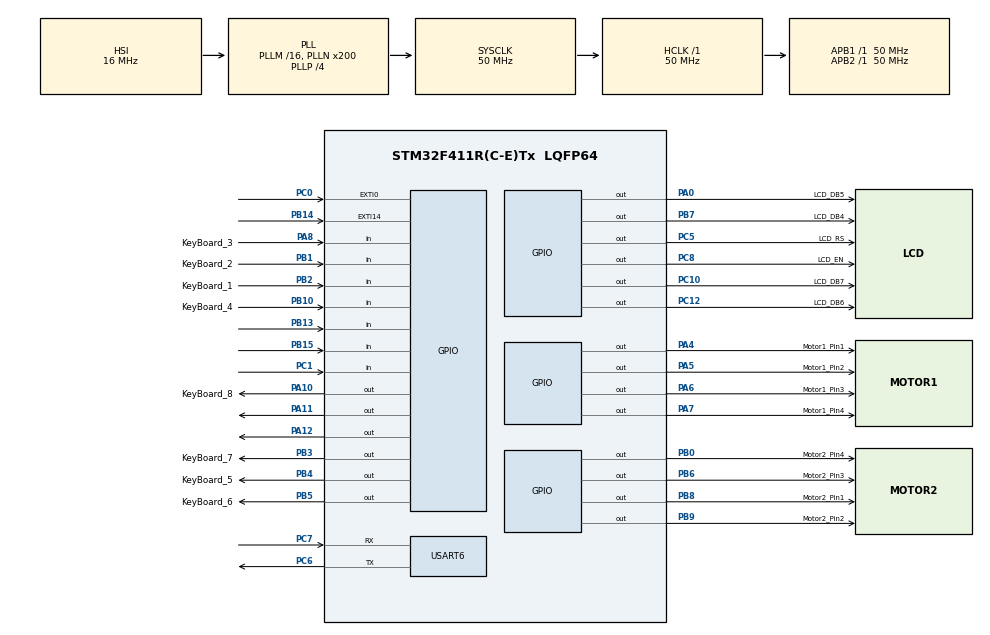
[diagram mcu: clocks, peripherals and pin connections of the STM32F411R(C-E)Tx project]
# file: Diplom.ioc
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Mcu.Family=STM32F4
Mcu.Name=STM32F411R(C-E)Tx
Mcu.Package=LQFP64
NVIC.EXTI0_IRQn=true\:2\:0\:true\:false\:true\:true\:true
NVIC.EXTI15_10_IRQn=true\:2\:0\:true\:false\:true\:true\:true
NVIC.PriorityGroup=NVIC_PRIORITYGROUP_4
NVIC.TIM2_IRQn=true\:0\:0\:false\:false\:true\:true\:true
NVIC.TIM3_IRQn=true\:0\:0\:false\:false\:true\:true\:true
NVIC.TIM4_IRQn=true\:0\:0\:false\:false\:true\:true\:true
NVIC.USART6_IRQn=true\:0\:0\:false\:false\:true\:true\:true
PA0-WKUP.GPIO_Label=LCD_DB5
PA0-WKUP.Signal=GPIO_Output
PA10.GPIO_Label=KeyBoard_8
PA10.Signal=GPIO_Output
PA11.Signal=GPIO_Output
PA12.Signal=GPIO_Output
PA4.GPIO_Label=Motor1_Pin1
PA4.Signal=GPIO_Output
PA5.GPIO_Label=Motor1_Pin2
PA5.Signal=GPIO_Output
PA6.GPIO_Label=Motor1_Pin3
PA6.Signal=GPIO_Output
PA7.GPIO_Label=Motor1_Pin4
PA7.Signal=GPIO_Output
PA8.GPIO_Label=KeyBoard_3
PA8.GPIO_PuPd=GPIO_PULLUP
PA8.Signal=GPIO_Input
PB0.GPIO_Label=Motor2_Pin4
PB0.Signal=GPIO_Output
PB1.GPIO_Label=KeyBoard_2
PB1.GPIO_PuPd=GPIO_PULLUP
PB1.Signal=GPIO_Input
PB10.GPIO_Label=KeyBoard_4
PB10.GPIO_PuPd=GPIO_PULLUP
PB10.Signal=GPIO_Input
PB13.GPIO_PuPd=GPIO_NOPULL
PB13.Signal=GPIO_Input
PB14.GPIO_ModeDefaultEXTI=GPIO_MODE_IT_FALLING
PB14.GPIO_PuPd=GPIO_PULLUP
PB14.Signal=GPXTI14
PB15.Signal=GPIO_Input
PB2.GPIO_Label=KeyBoard_1
PB2.GPIO_PuPd=GPIO_PULLUP
PB2.Signal=GPIO_Input
PB3.GPIO_Label=KeyBoard_7
PB3.Signal=GPIO_Output
PB4.GPIO_Label=KeyBoard_5
PB4.Signal=GPIO_Output
PB5.GPIO_Label=KeyBoard_6
PB5.Signal=GPIO_Output
PB6.GPIO_Label=Motor2_Pin3
PB6.Signal=GPIO_Output
PB7.GPIO_Label=LCD_DB4
PB7.Signal=GPIO_Output
PB8.GPIO_Label=Motor2_Pin1
PB8.Signal=GPIO_Output
PB9.GPIO_Label=Motor2_Pin2
PB9.Signal=GPIO_Output
PC0.GPIO_ModeDefaultEXTI=GPIO_MODE_IT_FALLING
PC0.GPIO_PuPd=GPIO_PULLUP
PC0.Signal=GPXTI0
PC1.GPIO_PuPd=GPIO_NOPULL
PC1.Signal=GPIO_Input
PC10.GPIO_Label=LCD_DB7
PC10.Signal=GPIO_Output
PC12.GPIO_Label=LCD_DB6
PC12.Signal=GPIO_Output
PC5.GPIO_Label=LCD_RS
PC5.Signal=GPIO_Output
PC6.Mode=Asynchronous
PC6.Signal=USART6_TX
PC7.Mode=Asynchronous
PC7.Signal=USART6_RX
PC8.GPIO_Label=LCD_EN
PC8.Signal=GPIO_Output
ProjectManager.HeapSize=0x200
ProjectManager.StackSize=0x400
ProjectManager.TargetToolchain=STM32CubeIDE
RCC.48MHZClocksFreq_Value=50000000
RCC.AHBFreq_Value=50000000
RCC.APB1Freq_Value=50000000
RCC.APB1TimFreq_Value=50000000
RCC.APB2Freq_Value=50000000
RCC.APB2TimFreq_Value=50000000
RCC.CortexFreq_Value=50000000
RCC.HCLKFreq_Value=50000000
RCC.HSE_VALUE=25000000
RCC.HSI_VALUE=16000000
RCC.LSE_VALUE=32768
RCC.PLLN=200
RCC.PLLP=RCC_PLLP_DIV4
RCC.SYSCLKFreq_VALUE=50000000
RCC.SYSCLKSource=RCC_SYSCLKSOURCE_PLLCLK
RCC.VCOOutputFreq_Value=200000000
TIM2.Period=599
TIM2.Prescaler=4999
TIM3.Period=65535
TIM3.Prescaler=499
TIM4.Period=65535
TIM4.Prescaler=499
USART6.VirtualMode=VM_ASYNC
VP_TIM2_VS_ClockSourceINT.Mode=Internal
VP_TIM3_VS_ClockSourceINT.Mode=Internal
VP_TIM4_VS_ClockSourceINT.Mode=Internal
board=custom

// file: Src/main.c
/* USER CODE BEGIN Header */
/**
  ******************************************************************************
  * @file           : main.c
  * @brief          : Main program body
  ******************************************************************************
  * @attention
  *
  * <h2><center>&copy; Copyright (c) 2021 STMicroelectronics.
  * All rights reserved.</center></h2>
  *
  * This software component is licensed by ST under BSD 3-Clause license,
  * the "License"; You may not use this file except in compliance with the
  * License. You may obtain a copy of the License at:
  *                        opensource.org/licenses/BSD-3-Clause
  *
  ******************************************************************************
  */
/* USER CODE END Header */

#include "main.h"

/* USER CODE BEGIN Includes */
#include "string.h"
#include "Lcd.h"
#include "LcdConfig.h"
#include <stdlib.h>
#include <ctype.h>
#include<stdio.h>

/* USER CODE END Includes */

/* USER CODE BEGIN PM */

#define MY_SLAVE_ID  0x01

#define TRUE   1
#define FALSE  0

#define START 1
#define STOP 0

#define AUTO_MODE 1
#define HANDLE_MODE 0

/* USER CODE END PM */

TIM_HandleTypeDef htim2;
TIM_HandleTypeDef htim3;
TIM_HandleTypeDef htim4;

UART_HandleTypeDef huart6;

/* USER CODE BEGIN PV */

//volatile uint8_t temp_step;

volatile uint8_t DataPos;

uint8_t CommandIsReceived = FALSE;

stepMotor_typeDef stepMotor1, stepMotor2;
int display_coordX = 0, display_coordY =0 , display_speed_ref = 0;
uint16_t Xk =0 , Yk = 0;

G_CODE_typeDef G_Code;

uint8_t AllGcodeIsReceived = FALSE;

volatile uint16_t G_Code_File[5000];			// Save all G-Code Strings Received

volatile uint8_t countG;

volatile int sensor_X, sensor_Y;	//*******sensor value***

typedef enum{
	None = 0,
	Clockwise = 1,
	AntiClockwise = 2

}dirMotor_typedef;

volatile dirMotor_typedef sensor_DirMotorX, sensor_DirMotorY;

/* USER CODE END PV */

void SystemClock_Config(void);
static void MX_GPIO_Init(void);
static void MX_TIM2_Init(void);
static void MX_USART6_UART_Init(void);
static void MX_TIM3_Init(void);
static void MX_TIM4_Init(void);
/* USER CODE BEGIN PFP */

void Lcd_display_parameter(Lcd_HandleTypeDef* lcd);
void Process_GCode(volatile uint16_t* gcode);
void Start_Motors_ByGCode();
void runMotor(stepMotor_typeDef* motor, uint16_t steps, uint8_t dir);

/* USER CODE END PFP */

int main(void)
{
  /* USER CODE BEGIN 1 */

	sensor_DirMotorX = None;
	sensor_DirMotorY = None;

	//*********** Set first-Mode: handle Mode **********
	MODE = 0;
	isDrilling = 0;
	temp_coordX = 0;			//this is used while parsing G-code
 	temp_coordY = 0;			//this is used while parsing G-code
	temp_speed  = 0;
	sensor_X = 0;
	sensor_Y = 0;
	countG = 0;

	memset(data_in, 0,300);

	//********* Configuring for motors ***************
	stepMotor1.Port 		= GPIOA;
	stepMotor1.pin1 		= GPIO_PIN_4;
	stepMotor1.pin2 		= GPIO_PIN_5;
	stepMotor1.pin3 		= GPIO_PIN_6;
	stepMotor1.pin4 		= GPIO_PIN_7;
	stepMotor1.temp_step 	= 0;
	stepMotor1.state 		= NOT_RUNNING;

	stepMotor2.Port 		= GPIOB;
	stepMotor2.pin1 		= GPIO_PIN_8;
	stepMotor2.pin2 		= GPIO_PIN_9;
	stepMotor2.pin3 		= GPIO_PIN_6;
	stepMotor2.pin4 		= GPIO_PIN_0;
	stepMotor2.temp_step 	= 0;
	stepMotor2.state		= NOT_RUNNING;

	//**************** Set G_Code_String in Mobus model ************
	test[0] = (uint16_t*)(&motor);
	test[1] = (uint16_t*)(&stepNumb);
	test[2] = (uint16_t*)(&speed);
	test[3] = (uint16_t*)(&direction);
	test[4] = (uint16_t*)(&startStop);
	test[5] = (uint16_t*)(&MODE);

	test[6] = (uint16_t*)(&AllGcodeIsReceived);

	for (int i = 7; i<107; i++)
	{
		test[i] = (uint16_t*)(&G_Code_String[i-7]);
	}

	test[107] = (uint16_t*)&sensor_X;
	test[108] = (uint16_t*)&sensor_Y;
	test[109] = (uint16_t*)&isDrilling;
	test[110] = (uint16_t*)&sensor_DirMotorX;
	test[111] = (uint16_t*)&sensor_DirMotorY;

  /* USER CODE END 1 */

  /* MCU Configuration--------------------------------------------------------*/

  /* Reset of all peripherals, Initializes the Flash interface and the Systick. */
  HAL_Init();

  /* Configure the system clock */
  SystemClock_Config();

  /* Initialize all configured peripherals */
  MX_GPIO_Init();
  MX_TIM2_Init();
  MX_USART6_UART_Init();
  MX_TIM3_Init();
  MX_TIM4_Init();
  /* USER CODE BEGIN 2 */

  HAL_TIM_Base_Start(&htim3);

  HAL_TIM_Base_Start_IT(&htim2);

  DataPos = 0;

  HAL_UART_Receive_IT(&huart6, (uint8_t*)data_in + DataPos, 1);

  HAL_GPIO_WritePin(GPIOA, GPIO_PIN_11, 0);
  HAL_GPIO_WritePin(GPIOA, GPIO_PIN_12, 1);

  //********* Initialize KeyPad *************
  KeyPad_Init();

  //********* Initialize LCD ****************
  Lcd_PortType ports[] = { D4_GPIO_Port, D5_GPIO_Port, D6_GPIO_Port, D7_GPIO_Port};

  Lcd_PinType pins[] = {D4_Pin, D5_Pin, D6_Pin, D7_Pin};

  Lcd_HandleTypeDef lcd;

  lcd = Lcd_create(ports, pins, RS_GPIO_Port, RS_Pin, EN_GPIO_Port, EN_Pin, LCD_4_BIT_MODE);

  Lcd_string(&lcd, "Handle Mode");

  Lcd_cursor(&lcd, 1, 0);

  Lcd_string(&lcd, "Press '#' to run");

  /* USER CODE END 2 */

  /* Infinite loop */
  while (1)
  {

    /* USER CODE BEGIN 3 */

	  if(MODE == AUTO_MODE)
	  {
		  // ****************** Automatic mode (Using data from PC ) **************
		  if (CommandIsReceived == TRUE)
		  {
			  if (MBRegisterCount()>=50)			// Is Data received G-Code?
			  {

				  if (AllGcodeIsReceived == TRUE)
				  {
					  for (int i = 0; i < MBRegisterCount() -2 ; i++)
					  {
						  G_Code_File[countG*100 + i] = G_Code_String[i];
					  }

					  Process_GCode(G_Code_File);
					  Start_Motors_ByGCode();
					  AllGcodeIsReceived == FALSE;
					  countG = 0;
					  memset(G_Code_File, 0, 5000);
					  memset(G_Code_String, 0, 200);
				  }
				  else
				  {
					  for (int i = 0; i < 100; i++)
					  {
						  G_Code_File[countG*100 + i] = G_Code_String[i];
					  }

					  countG++;
				  }

			  }
			  else
			  {
				  isDrilling = 0;

				  switch (motor)
				  {
				  case 1:
					  MODE = HANDLE_MODE;
					  if (htim3.State == HAL_TIM_STATE_READY)
						  HAL_TIM_Base_Start_IT(&htim3);
					  break;

				  case 2:
					  MODE = HANDLE_MODE;
					  if (htim4.State == HAL_TIM_STATE_READY)
						  HAL_TIM_Base_Start_IT(&htim4);
					  break;
				  }
			  }

			  CommandIsReceived = FALSE;
			  MODE = HANDLE_MODE;
		  }

	  }
	  else
	  {
		  //***************** Handle Mode (Using Keyboard) ************************

		  switch(KeyPad_WaitForKeyGetChar(0))
		  {
		  	  case '1':								// X+
		  		  display_coordX +=10;
		  		  if(display_coordX>100) display_coordX = 0;
		  		  Lcd_display_parameter(&lcd);
		  		  G_Code.G_Line[0].coordX = display_coordX*10;

		  		  break;

		  	  case '2':								// X-
		  		  display_coordX -= 10;
		  		  if(display_coordX<0) display_coordX=100;
		  		  Lcd_display_parameter(&lcd);
		  		  G_Code.G_Line[0].coordX = display_coordX*10;
		  		  break;

		  	  case '3':
		  		  runMotor(&stepMotor1,100, CLOCKWISE); 	// Let motor1 (X) run 100 steps clockwise and set current position X = 0
		  		  break;

		  	  case 'A':
		  		  runMotor(&stepMotor1,100, ANTICLOCKWISE); // Let motor1 (X) run 100 steps anti-clockwise and set current position X = 0
		  		  break;

		  	  case '4':								// Y+
		  		  display_coordY +=10;
		  		  if(display_coordY>100) display_coordY=0;
		  		  Lcd_display_parameter(&lcd);
		  		  G_Code.G_Line[0].coordY = display_coordY*10;
		  		  break;

		  	  case '5':								// Y-
		  		  display_coordY-= 10;
		  		  if(display_coordY<0) display_coordY=100;
		  		  Lcd_display_parameter(&lcd);
		  		  G_Code.G_Line[0].coordY = display_coordY*10;
		  		  break;

		  	  case '6':
		  		  runMotor(&stepMotor2,100, CLOCKWISE); 	// Let motor2 (Y) run 100 steps clockwise and set current position Y = 0
		  		  break;

		  	  case 'B':
		  		  runMotor(&stepMotor2,100, ANTICLOCKWISE); // Let motor2 (Y) run 100 steps anti-clockwise and set current position Y = 0
		  		  break;

		  	  case '7':								// F+
		  		  display_speed_ref +=10;
		  		  G_Code.G_Line[0].speed_ref += 1000 ;
		  		  if(display_speed_ref>50) display_speed_ref = 10;
		  		  Lcd_display_parameter(&lcd);
		  		  break;

		  	  case '8':								// F+
		  		  display_speed_ref -=10;
		  		  G_Code.G_Line[0].speed_ref--;
		  		  if(display_speed_ref< 10) display_speed_ref=50;
		  		  Lcd_display_parameter(&lcd);
		  		  break;

		  	  case '9':
		  		  break;

		  	  case '*':
		  		  Lcd_clear(&lcd);
		  		  Lcd_cursor(&lcd, 0, 4);
		  		  Lcd_string(&lcd, "Running... ");
		  		  G_Code.totalNumbOfLineGCode = 1;
		  		  Start_Motors_ByGCode();
		  		  while ((stepMotor1.state == RUNNING)||(stepMotor2.state == RUNNING)){};
		  		  Lcd_clear(&lcd);
		  		  Lcd_cursor(&lcd, 0, 4);
		  		  Lcd_string(&lcd, "FINISH");
		  		  Lcd_cursor(&lcd, 1, 0);
		  		  Lcd_string(&lcd, "Press 0 to exit");
		  		  break;

		  	  case '0':
		  		  Lcd_clear(&lcd);
		  		  Lcd_string(&lcd, "Handle Mode");
		  		  Lcd_cursor(&lcd, 1, 0);
		  		  Lcd_string(&lcd, "Press '#' to run");
		  		  break;

		  	  case '#':
		  		  Xk = 0;
		  		  Yk = 0;
		  		  temp_coordX = 0;
		  		  temp_coordY = 0;
		  		  Lcd_display_parameter(&lcd);
		  		  break;

		  	  case 'D':
		  		  break;
		  }

	  }

  }

  /* USER CODE END 3 */
}

void SystemClock_Config(void)
{
  RCC_OscInitTypeDef RCC_OscInitStruct = {0};
  RCC_ClkInitTypeDef RCC_ClkInitStruct = {0};

  /** Configure the main internal regulator output voltage
  */
  __HAL_RCC_PWR_CLK_ENABLE();
  __HAL_PWR_VOLTAGESCALING_CONFIG(PWR_REGULATOR_VOLTAGE_SCALE1);
  /** Initializes the CPU, AHB and APB busses clocks
  */
  RCC_OscInitStruct.OscillatorType = RCC_OSCILLATORTYPE_HSI;
  RCC_OscInitStruct.HSIState = RCC_HSI_ON;
  RCC_OscInitStruct.HSICalibrationValue = RCC_HSICALIBRATION_DEFAULT;
  RCC_OscInitStruct.PLL.PLLState = RCC_PLL_ON;
  RCC_OscInitStruct.PLL.PLLSource = RCC_PLLSOURCE_HSI;
  RCC_OscInitStruct.PLL.PLLM = 16;
  RCC_OscInitStruct.PLL.PLLN = 200;
  RCC_OscInitStruct.PLL.PLLP = RCC_PLLP_DIV4;
  RCC_OscInitStruct.PLL.PLLQ = 4;
  if (HAL_RCC_OscConfig(&RCC_OscInitStruct) != HAL_OK)
  {
    Error_Handler();
  }
  /** Initializes the CPU, AHB and APB busses clocks
  */
  RCC_ClkInitStruct.ClockType = RCC_CLOCKTYPE_HCLK|RCC_CLOCKTYPE_SYSCLK
                              |RCC_CLOCKTYPE_PCLK1|RCC_CLOCKTYPE_PCLK2;
  RCC_ClkInitStruct.SYSCLKSource = RCC_SYSCLKSOURCE_PLLCLK;
  RCC_ClkInitStruct.AHBCLKDivider = RCC_SYSCLK_DIV1;
  RCC_ClkInitStruct.APB1CLKDivider = RCC_HCLK_DIV1;
  RCC_ClkInitStruct.APB2CLKDivider = RCC_HCLK_DIV1;

  if (HAL_RCC_ClockConfig(&RCC_ClkInitStruct, FLASH_LATENCY_1) != HAL_OK)
  {
    Error_Handler();
  }
}

static void MX_TIM2_Init(void)
{

  TIM_ClockConfigTypeDef sClockSourceConfig = {0};
  TIM_MasterConfigTypeDef sMasterConfig = {0};

  htim2.Instance = TIM2;
  htim2.Init.Prescaler = 4999;
  htim2.Init.CounterMode = TIM_COUNTERMODE_UP;
  htim2.Init.Period = 599;
  htim2.Init.ClockDivision = TIM_CLOCKDIVISION_DIV1;
  htim2.Init.AutoReloadPreload = TIM_AUTORELOAD_PRELOAD_DISABLE;
  if (HAL_TIM_Base_Init(&htim2) != HAL_OK)
  {
    Error_Handler();
  }
  sClockSourceConfig.ClockSource = TIM_CLOCKSOURCE_INTERNAL;
  if (HAL_TIM_ConfigClockSource(&htim2, &sClockSourceConfig) != HAL_OK)
  {
    Error_Handler();
  }
  sMasterConfig.MasterOutputTrigger = TIM_TRGO_RESET;
  sMasterConfig.MasterSlaveMode = TIM_MASTERSLAVEMODE_DISABLE;
  if (HAL_TIMEx_MasterConfigSynchronization(&htim2, &sMasterConfig) != HAL_OK)
  {
    Error_Handler();
  }

}

static void MX_TIM3_Init(void)
{

  TIM_ClockConfigTypeDef sClockSourceConfig = {0};
  TIM_MasterConfigTypeDef sMasterConfig = {0};

  htim3.Instance = TIM3;
  htim3.Init.Prescaler = 499;
  htim3.Init.CounterMode = TIM_COUNTERMODE_UP;
  htim3.Init.Period = 65535;
  htim3.Init.ClockDivision = TIM_CLOCKDIVISION_DIV1;
  htim3.Init.AutoReloadPreload = TIM_AUTORELOAD_PRELOAD_DISABLE;
  if (HAL_TIM_Base_Init(&htim3) != HAL_OK)
  {
    Error_Handler();
  }
  sClockSourceConfig.ClockSource = TIM_CLOCKSOURCE_INTERNAL;
  if (HAL_TIM_ConfigClockSource(&htim3, &sClockSourceConfig) != HAL_OK)
  {
    Error_Handler();
  }
  sMasterConfig.MasterOutputTrigger = TIM_TRGO_RESET;
  sMasterConfig.MasterSlaveMode = TIM_MASTERSLAVEMODE_DISABLE;
  if (HAL_TIMEx_MasterConfigSynchronization(&htim3, &sMasterConfig) != HAL_OK)
  {
    Error_Handler();
  }

}

static void MX_TIM4_Init(void)
{

  TIM_ClockConfigTypeDef sClockSourceConfig = {0};
  TIM_MasterConfigTypeDef sMasterConfig = {0};

  htim4.Instance = TIM4;
  htim4.Init.Prescaler = 499;
  htim4.Init.CounterMode = TIM_COUNTERMODE_UP;
  htim4.Init.Period = 65535;
  htim4.Init.ClockDivision = TIM_CLOCKDIVISION_DIV1;
  htim4.Init.AutoReloadPreload = TIM_AUTORELOAD_PRELOAD_DISABLE;
  if (HAL_TIM_Base_Init(&htim4) != HAL_OK)
  {
    Error_Handler();
  }
  sClockSourceConfig.ClockSource = TIM_CLOCKSOURCE_INTERNAL;
  if (HAL_TIM_ConfigClockSource(&htim4, &sClockSourceConfig) != HAL_OK)
  {
    Error_Handler();
  }
  sMasterConfig.MasterOutputTrigger = TIM_TRGO_RESET;
  sMasterConfig.MasterSlaveMode = TIM_MASTERSLAVEMODE_DISABLE;
  if (HAL_TIMEx_MasterConfigSynchronization(&htim4, &sMasterConfig) != HAL_OK)
  {
    Error_Handler();
  }

}

static void MX_USART6_UART_Init(void)
{

  huart6.Instance = USART6;
  huart6.Init.BaudRate = 115200;
  huart6.Init.WordLength = UART_WORDLENGTH_8B;
  huart6.Init.StopBits = UART_STOPBITS_1;
  huart6.Init.Parity = UART_PARITY_NONE;
  huart6.Init.Mode = UART_MODE_TX_RX;
  huart6.Init.HwFlowCtl = UART_HWCONTROL_NONE;
  huart6.Init.OverSampling = UART_OVERSAMPLING_16;
  if (HAL_UART_Init(&huart6) != HAL_OK)
  {
    Error_Handler();
  }

}

static void MX_GPIO_Init(void)
{
  GPIO_InitTypeDef GPIO_InitStruct = {0};

  /* GPIO Ports Clock Enable */
  __HAL_RCC_GPIOC_CLK_ENABLE();
  __HAL_RCC_GPIOA_CLK_ENABLE();
  __HAL_RCC_GPIOB_CLK_ENABLE();

  /*Configure GPIO pin Output Level */
  HAL_GPIO_WritePin(GPIOA, LCD_DB5_Pin|Motor1_Pin1_Pin|Motor1_Pin2_Pin|Motor1_Pin3_Pin
                          |Motor1_Pin4_Pin|KeyBoard_8_Pin|GPIO_PIN_11|GPIO_PIN_12, GPIO_PIN_RESET);

  /*Configure GPIO pin Output Level */
  HAL_GPIO_WritePin(GPIOC, LCD_RS_Pin|LCD_EN_Pin|LCD_DB7_Pin|LCD_DB6_Pin, GPIO_PIN_RESET);

  /*Configure GPIO pin Output Level */
  HAL_GPIO_WritePin(GPIOB, Motor2_Pin4_Pin|KeyBoard_7_Pin|KeyBoard_5_Pin|KeyBoard_6_Pin
                          |Motor2_Pin3_Pin|LCD_DB4_Pin|Motor2_Pin1_Pin|Motor2_Pin2_Pin, GPIO_PIN_RESET);

  /*Configure GPIO pin : PC0 */
  GPIO_InitStruct.Pin = GPIO_PIN_0;
  GPIO_InitStruct.Mode = GPIO_MODE_IT_FALLING;
  GPIO_InitStruct.Pull = GPIO_PULLUP;
  HAL_GPIO_Init(GPIOC, &GPIO_InitStruct);

  /*Configure GPIO pin : PC1 */
  GPIO_InitStruct.Pin = GPIO_PIN_1;
  GPIO_InitStruct.Mode = GPIO_MODE_INPUT;
  GPIO_InitStruct.Pull = GPIO_NOPULL;
  HAL_GPIO_Init(GPIOC, &GPIO_InitStruct);

  /*Configure GPIO pins : LCD_DB5_Pin Motor1_Pin1_Pin Motor1_Pin2_Pin Motor1_Pin3_Pin
                           Motor1_Pin4_Pin KeyBoard_8_Pin PA11 PA12 */
  GPIO_InitStruct.Pin = LCD_DB5_Pin|Motor1_Pin1_Pin|Motor1_Pin2_Pin|Motor1_Pin3_Pin
                          |Motor1_Pin4_Pin|KeyBoard_8_Pin|GPIO_PIN_11|GPIO_PIN_12;
  GPIO_InitStruct.Mode = GPIO_MODE_OUTPUT_PP;
  GPIO_InitStruct.Pull = GPIO_NOPULL;
  GPIO_InitStruct.Speed = GPIO_SPEED_FREQ_LOW;
  HAL_GPIO_Init(GPIOA, &GPIO_InitStruct);

  /*Configure GPIO pins : LCD_RS_Pin LCD_EN_Pin LCD_DB7_Pin LCD_DB6_Pin */
  GPIO_InitStruct.Pin = LCD_RS_Pin|LCD_EN_Pin|LCD_DB7_Pin|LCD_DB6_Pin;
  GPIO_InitStruct.Mode = GPIO_MODE_OUTPUT_PP;
  GPIO_InitStruct.Pull = GPIO_NOPULL;
  GPIO_InitStruct.Speed = GPIO_SPEED_FREQ_LOW;
  HAL_GPIO_Init(GPIOC, &GPIO_InitStruct);

  /*Configure GPIO pins : Motor2_Pin4_Pin KeyBoard_7_Pin KeyBoard_5_Pin KeyBoard_6_Pin
                           Motor2_Pin3_Pin LCD_DB4_Pin Motor2_Pin1_Pin Motor2_Pin2_Pin */
  GPIO_InitStruct.Pin = Motor2_Pin4_Pin|KeyBoard_7_Pin|KeyBoard_5_Pin|KeyBoard_6_Pin
                          |Motor2_Pin3_Pin|LCD_DB4_Pin|Motor2_Pin1_Pin|Motor2_Pin2_Pin;
  GPIO_InitStruct.Mode = GPIO_MODE_OUTPUT_PP;
  GPIO_InitStruct.Pull = GPIO_NOPULL;
  GPIO_InitStruct.Speed = GPIO_SPEED_FREQ_LOW;
  HAL_GPIO_Init(GPIOB, &GPIO_InitStruct);

  /*Configure GPIO pins : KeyBoard_2_Pin KeyBoard_1_Pin KeyBoard_4_Pin */
  GPIO_InitStruct.Pin = KeyBoard_2_Pin|KeyBoard_1_Pin|KeyBoard_4_Pin;
  GPIO_InitStruct.Mode = GPIO_MODE_INPUT;
  GPIO_InitStruct.Pull = GPIO_PULLUP;
  HAL_GPIO_Init(GPIOB, &GPIO_InitStruct);

  /*Configure GPIO pins : PB13 PB15 */
  GPIO_InitStruct.Pin = GPIO_PIN_13|GPIO_PIN_15;
  GPIO_InitStruct.Mode = GPIO_MODE_INPUT;
  GPIO_InitStruct.Pull = GPIO_NOPULL;
  HAL_GPIO_Init(GPIOB, &GPIO_InitStruct);

  /*Configure GPIO pin : PB14 */
  GPIO_InitStruct.Pin = GPIO_PIN_14;
  GPIO_InitStruct.Mode = GPIO_MODE_IT_FALLING;
  GPIO_InitStruct.Pull = GPIO_PULLUP;
  HAL_GPIO_Init(GPIOB, &GPIO_InitStruct);

  /*Configure GPIO pin : KeyBoard_3_Pin */
  GPIO_InitStruct.Pin = KeyBoard_3_Pin;
  GPIO_InitStruct.Mode = GPIO_MODE_INPUT;
  GPIO_InitStruct.Pull = GPIO_PULLUP;
  HAL_GPIO_Init(KeyBoard_3_GPIO_Port, &GPIO_InitStruct);

  /* EXTI interrupt init*/
  HAL_NVIC_SetPriority(EXTI0_IRQn, 2, 0);
  HAL_NVIC_EnableIRQ(EXTI0_IRQn);

  HAL_NVIC_SetPriority(EXTI15_10_IRQn, 2, 0);
  HAL_NVIC_EnableIRQ(EXTI15_10_IRQn);

}

/* USER CODE BEGIN 4 */

void HAL_UART_RxCpltCallback(UART_HandleTypeDef *huart)
{

	if (htim2.State == HAL_TIM_STATE_BUSY)
		HAL_TIM_Base_Stop_IT(&htim2);

//	__HAL_TIM_SET_COUNTER(&htim2, 0);

	TIM2->SR &= ~1;

	if (htim2.State == HAL_TIM_STATE_READY)
		HAL_TIM_Base_Start_IT(&htim2);

	DataPos++;

	HAL_UART_Receive_IT(&huart6, (uint8_t*)data_in + DataPos, 1);

}

 void HAL_TIM_PeriodElapsedCallback(TIM_HandleTypeDef *htim)
{

	if (htim->Instance == TIM2)
	{
		HAL_TIM_Base_Stop_IT(&htim2);

		if(data_in[0]== MY_SLAVE_ID)
		{

			switch(data_in[1])
			{
				case 0x03:
				{
					MBProcessRegisters(0x03);
				}
				break;

				case 0x06:
				{
					WriteToRegister(test);
				}
				break;

				case 0x10:
				{
					WriteToMultilRegisters(test);
					CommandIsReceived = TRUE;

					  switch (motor)
					  {
					  	  case 1:
					  		stepMotor1.stepNumb  = stepNumb;
					  		stepMotor1.speed 	 = speed;
					  		stepMotor1.direction = direction;
					  		stepMotor1.startStop = startStop;
					  		__HAL_TIM_SET_AUTORELOAD(&htim3, stepMotor1.speed*100);
						  break;

					  	  case 2:
							stepMotor2.stepNumb  = stepNumb;
							stepMotor2.speed     = speed;
							stepMotor2.direction = direction;
							stepMotor2.startStop = startStop;
							__HAL_TIM_SET_AUTORELOAD(&htim4, stepMotor2.speed*100);
						  break;

					  	  default:
					  		  break;
					  }

				}
				break;

				default:
				{
					MBException(0x01); //Illegal function code 01
					MBSendData(ResponseFrameSize);
				}
				break;
			}

		}

		DataPos = 0;

		HAL_UART_Receive_IT(&huart6, (uint8_t*)data_in + DataPos, 1);
	}

	//**************This part is used to Control motor*************************

	else if (htim->Instance == TIM3)					//Interrupt from Timer 3 (Control motor1)
	{
		if (stepMotor1.startStop == 1)
		{
			if (MODE == HANDLE_MODE)
			{
				OneStep(&stepMotor1);
				stepMotor1.stepNumb--;
				sensor_X += (stepMotor1.direction == CLOCKWISE)?(1):(-1);
				if (sensor_X <0 ) sensor_X = 0;
				if (stepMotor1.stepNumb == 0)
				{
					stepMotor1.startStop = 0;
					stepMotor1.state = NOT_RUNNING;   		//Motor finishes its own work
				}
			}
			else if (MODE == AUTO_MODE)
			{
				if ( (stepMotor1.stepNumb == 0) || (sensor_X == Xk) || (Xk == temp_coordX))
				{
					stepMotor1.startStop = 0;
					stepMotor1.state = NOT_RUNNING;   		//Motor finishes its own work
				}

				else if ( abs((sensor_X - temp_coordX)*(Yk -temp_coordY)) <= abs((Xk - temp_coordX)*(sensor_Y -temp_coordY)))
				{

					OneStep(&stepMotor1);
					stepMotor1.stepNumb--;
					sensor_X += (stepMotor1.direction == CLOCKWISE)?(1):(-1);
					if (sensor_X <0 ) sensor_X = 0;
				}

			}

		}
		else
		{
			sensor_DirMotorX = None;
			HAL_GPIO_WritePin(stepMotor1.Port, stepMotor1.pin1, 0);
			HAL_GPIO_WritePin(stepMotor1.Port, stepMotor1.pin2, 0);
			HAL_GPIO_WritePin(stepMotor1.Port, stepMotor1.pin3, 0);
			HAL_GPIO_WritePin(stepMotor1.Port, stepMotor1.pin4, 0);
			HAL_TIM_Base_Stop_IT(&htim3);
		}
	}

	else if (htim->Instance == TIM4)					//Interrupt from Timer 4 (Control motor2)
	{
		if (stepMotor2.startStop == 1)
		{
			if (MODE == HANDLE_MODE)
			{
				OneStep(&stepMotor2);
				stepMotor2.stepNumb--;
				sensor_Y += (stepMotor2.direction == CLOCKWISE)?(1):(-1);
				if (sensor_Y <0 ) sensor_Y = 0;
				if (stepMotor2.stepNumb == 0)
				{
					stepMotor2.startStop = 0;
					stepMotor2.state = NOT_RUNNING;			//Motor finishes its own work
				}
			}
			else if (MODE == AUTO_MODE)
			{

				if ( (stepMotor2.stepNumb == 0) || (sensor_Y == Yk) || (Yk == temp_coordY))
				{
					stepMotor2.startStop = 0;
					stepMotor2.state = NOT_RUNNING;			//Motor finishes its own work
				}
				else if ( abs((sensor_X - temp_coordX)*(Yk -temp_coordY)) >= abs((Xk - temp_coordX)*(sensor_Y -temp_coordY)))
				{
					OneStep(&stepMotor2);
					stepMotor2.stepNumb--;
					sensor_Y += (stepMotor2.direction == CLOCKWISE)?(1):(-1);
					if (sensor_Y <0 ) sensor_Y = 0;
				}

			}
		}
		else
		{
			sensor_DirMotorY = None;
			HAL_GPIO_WritePin(stepMotor2.Port, stepMotor2.pin1, 0);
			HAL_GPIO_WritePin(stepMotor2.Port, stepMotor2.pin2, 0);
			HAL_GPIO_WritePin(stepMotor2.Port, stepMotor2.pin3, 0);
			HAL_GPIO_WritePin(stepMotor2.Port, stepMotor2.pin4, 0);
			HAL_TIM_Base_Stop_IT(&htim4);
		}

	}

}

void HAL_GPIO_EXTI_Callback(uint16_t GPIO_Pin)
{
	if (GPIO_Pin == GPIO_PIN_0){
		HAL_Delay(20);
		if (HAL_GPIO_ReadPin(GPIOC, GPIO_PIN_0) == 0)
		{
			if(HAL_GPIO_ReadPin(GPIOC, GPIO_PIN_1) == 0){
				sensor_DirMotorY = AntiClockwise;
			}else{
				sensor_DirMotorY = Clockwise;
			}
		}

	}
	else if (GPIO_Pin == GPIO_PIN_14)
	{
		HAL_Delay(20);
		if (HAL_GPIO_ReadPin(GPIOB, GPIO_PIN_14) == 0)
		{
			if(HAL_GPIO_ReadPin(GPIOB, GPIO_PIN_15) == 0){
				sensor_DirMotorX = Clockwise  ;
			}else{
				sensor_DirMotorX = AntiClockwise;
			}
		}
	}
}

 void delay_ms(uint16_t ms)
 {
	 for (int i = 0; i< ms ;i++)
	 {
		 __HAL_TIM_SET_COUNTER(&htim3,0);
		 while(__HAL_TIM_GET_COUNTER(&htim3) < 16000);
	 }
 }

 void Lcd_display_parameter(Lcd_HandleTypeDef* lcd)
 {
	  Lcd_clear(lcd);
	  Lcd_cursor(lcd, 0, 6);
	  Lcd_string(lcd, "G01 ");

	  Lcd_cursor(lcd, 1, 0);
	  Lcd_string(lcd, "X");
	  Lcd_int(lcd, (int)display_coordX/100);
	  Lcd_int(lcd, (int)(display_coordX/10)%10);
	  Lcd_int(lcd, (int)display_coordX%10);
	  Lcd_string(lcd, " ");

	  Lcd_string(lcd, "Y");
	  Lcd_int(lcd, (int)display_coordY/100);
	  Lcd_int(lcd, (int)(display_coordY/10)%10);
	  Lcd_int(lcd, (int)display_coordY%10);
	  Lcd_string(lcd, " ");

	  Lcd_string(lcd, "F");
	  Lcd_int(lcd, (int)display_speed_ref/100);
	  Lcd_int(lcd, (int)display_speed_ref/10);
	  Lcd_int(lcd, (int)display_speed_ref%10);
 }

 void Process_GCode(volatile uint16_t* g_code_string)
 {
	 char s[5000];
	 G_Code.totalNumbOfLineGCode = 0;
	 for (int i= 0; i< 5000;i++)
	 {
		 if(g_code_string[i] == 'G')
		 {
			 ++G_Code.totalNumbOfLineGCode;
		 }

		 s[i] = (char)g_code_string[i];

	 }

	 for (int i = 0; i<G_Code.totalNumbOfLineGCode; i++)
	 {
		 float i1, i2, i3, i4;
		 char buff_s[5000];
		 memset(buff_s,0,5000);
		 sscanf(s, "%*[^0123456789]%f %*[^0123456789]%f %*[^0123456789]%f %*[^0123456789]%f %[^\0]",
		                 &i1,
		                 &i2,
		                 &i3,
		 				 &i4,
						 buff_s);

		 for (int i=0; i<sizeof(buff_s); i++)
		 {
			 s[i] = buff_s[i];
		 }

		 G_Code.G_Line[i].coordX     = (uint16_t)i2;
		 G_Code.G_Line[i].coordY 	 = (uint16_t)i3;
		 G_Code.G_Line[i].speed_ref  = (uint16_t)i4;
	 }

 }

 void Start_Motors_ByGCode()
 {

	 for (int i=0; i<G_Code.totalNumbOfLineGCode; i++)
	 {

		 if (stepMotor1.state == NOT_RUNNING)
		 {
			stepMotor1.state = RUNNING;
			Xk = G_Code.G_Line[i].coordX*10;
			stepMotor1.stepNumb  = (Xk == temp_coordX)? 0: abs((Xk - temp_coordX));   		//multiple by 10
			stepMotor1.speed     = (uint8_t)(G_Code.G_Line[i].speed_ref/1000);
			stepMotor1.direction = (Xk >= temp_coordX)? CLOCKWISE : ANTICLOCKWISE;
			stepMotor1.startStop = 1;			//make it run
			__HAL_TIM_SET_AUTORELOAD(&htim3, stepMotor1.speed*100);

			 if (htim3.State == HAL_TIM_STATE_READY) 		//Start timer3 to control motor1
			 {
				HAL_TIM_Base_Start_IT(&htim3);
			 }

		 }

		 if (stepMotor2.state == NOT_RUNNING)
		 {
			stepMotor2.state = RUNNING;
			Yk = G_Code.G_Line[i].coordY*10;
			stepMotor2.stepNumb  = (Yk == temp_coordY)? 0: abs((Yk - temp_coordY));
			stepMotor2.speed     = (uint8_t)(G_Code.G_Line[i].speed_ref/1000);
			stepMotor2.direction = (Yk >= temp_coordY)?CLOCKWISE : ANTICLOCKWISE;
			stepMotor2.startStop = 1; 			//make it run
			__HAL_TIM_SET_AUTORELOAD(&htim4, stepMotor2.speed*100);

			  if (htim4.State == HAL_TIM_STATE_READY)		//Start timer4 to control motor2
			  {
				  HAL_TIM_Base_Start_IT(&htim4);
			  }
		 }

		 while ((stepMotor1.state == RUNNING)||(stepMotor2.state == RUNNING)){};
		 temp_coordX = Xk;
		 temp_coordY = Yk;

		 if (i!= G_Code.totalNumbOfLineGCode -1)
		 {
			 isDrilling = 1;
			 HAL_GPIO_WritePin(GPIOA, GPIO_PIN_11, 1);
			 HAL_GPIO_WritePin(GPIOA, GPIO_PIN_12, 0);
			 HAL_Delay(1000);						// Do anything desired
			 HAL_GPIO_WritePin(GPIOA, GPIO_PIN_11, 0);
			 HAL_GPIO_WritePin(GPIOA, GPIO_PIN_12, 1);
			 isDrilling = 0;
		 }
	 }

 }

 void runMotor(stepMotor_typeDef* motor, uint16_t steps, uint8_t dir)
 {

		 while ((motor->state == RUNNING)){};
		 if (motor->state == NOT_RUNNING)
		 {
			 motor->stepNumb  = steps ;
			 motor->speed     = 2;
			 motor->direction = dir;
			 motor->startStop = 1;			//make it run

			 if (motor == &stepMotor1)
			 {
				__HAL_TIM_SET_AUTORELOAD(&htim3, stepMotor1.speed*100);
				temp_coordX = 0;

				 if (htim3.State == HAL_TIM_STATE_READY) 		//Start timer3 to control motor1
				 {
					HAL_TIM_Base_Start_IT(&htim3);
				 }
				 stepMotor1.state = RUNNING;

			 }
			 else if (motor == &stepMotor2 )
			 {
				__HAL_TIM_SET_AUTORELOAD(&htim4, stepMotor2.speed*100);
				temp_coordY = 0;

				  if (htim4.State == HAL_TIM_STATE_READY)		//Start timer4 to control motor2
				  {
					  HAL_TIM_Base_Start_IT(&htim4);
				  }
				  stepMotor2.state = RUNNING;
			 }
		 }
 }

/* USER CODE END 4 */

void Error_Handler(void)
{
}

/************************ (C) COPYRIGHT STMicroelectronics *****END OF FILE****/
